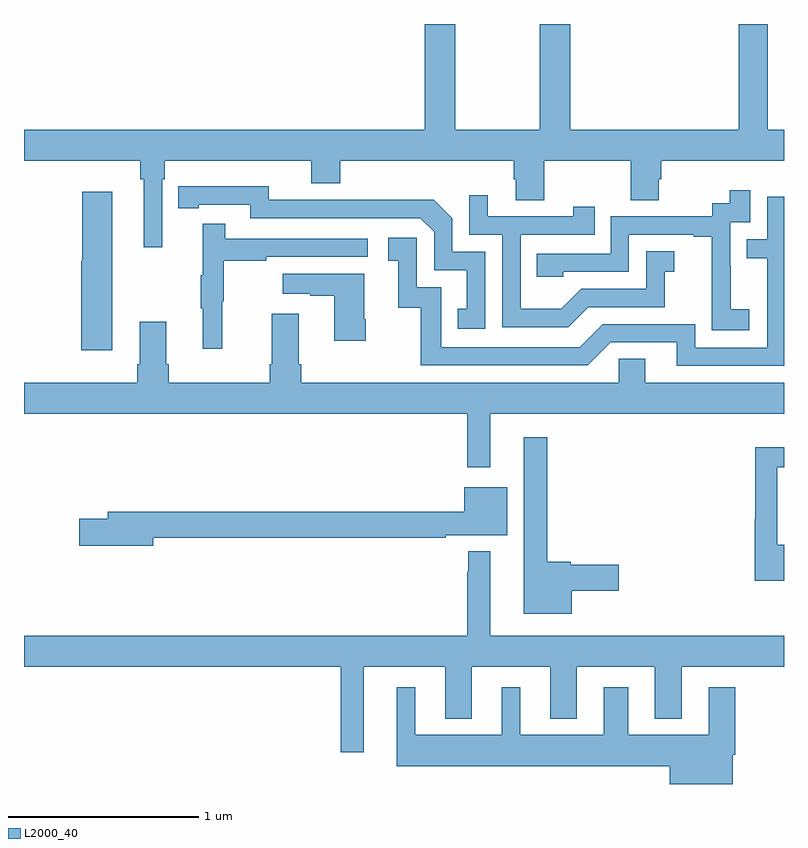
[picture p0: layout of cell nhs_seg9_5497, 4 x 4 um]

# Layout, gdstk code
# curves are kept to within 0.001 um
import gdstk
lib = gdstk.Library(unit=1e-6, precision=1e-09)
def P(c, l, *ps):  # polygons
    for p in ps: c.add(gdstk.Polygon(p, *l))
L2000_40 = (2000, 40)

nhs_seg9_5497 = lib.new_cell('nhs_seg9_5497')
P(nhs_seg9_5497, L2000_40, [(431.727,1169.684),(431.741,1169.684),(431.741,1169.78),(432.512,1169.78),(432.512,1169.663),(432.665,1169.663),(432.665,1169.78),(433.577,1169.78),(433.577,1169.682),(433.589,1169.682),(433.589,1169.572),(433.737,1169.572),(433.737,1169.78),(434.194,1169.78),(434.194,1169.572),(434.341,1169.572),(434.341,1169.682),(434.354,1169.682),(434.354,1169.78),(435,1169.78),(435,1169.944),(434.914,1169.944),(434.914,1170.5),(434.762,1170.5),(434.762,1169.944),(433.874,1169.944),(433.874,1170.5),(433.714,1170.5),(433.714,1169.944),(433.269,1169.944),(433.269,1170.5),(433.109,1170.5),(433.109,1169.944),(431,1169.944),(431,1169.78),(431.611,1169.78),(431.611,1169.684),(431.63,1169.684),(431.63,1169.325),(431.727,1169.325)],
  [(433.428,1169.301),(433.254,1169.301),(433.254,1169.478),(433.156,1169.576),(432.748,1169.576),(432.748,1169.574),(432.288,1169.574),(432.288,1169.647),(431.812,1169.646),(431.812,1169.53),(431.92,1169.53),(431.92,1169.55),(432.192,1169.55),(432.192,1169.478),(433.086,1169.478),(433.158,1169.406),(433.158,1169.205),(433.331,1169.205),(433.331,1169.001),(433.282,1169.001),(433.282,1168.896),(433.428,1168.896)],
  [(434.818,1168.999),(434.72,1168.999),(434.72,1169.228),(434.718,1169.228),(434.718,1169.457),(434.823,1169.457),(434.823,1169.626),(434.715,1169.626),(434.715,1169.556),(434.622,1169.556),(434.622,1169.487),(434.088,1169.487),(434.088,1169.292),(433.699,1169.292),(433.699,1169.169),(433.839,1169.169),(433.839,1169.196),(434.184,1169.196),(434.184,1169.391),(434.525,1169.391),(434.525,1169.379),(434.621,1169.379),(434.621,1169.095),(434.62,1169.095),(434.62,1168.889),(434.818,1168.889)],
  [(431.464,1169.617),(431.306,1169.617),(431.306,1169.253),(431.3,1169.253),(431.3,1168.782),(431.464,1168.782)],
  [(433.969,1169.01),(434.373,1169.01),(434.373,1169.195),(434.422,1169.195),(434.422,1169.305),(434.274,1169.305),(434.274,1169.106),(433.932,1169.106),(433.828,1169.002),(433.614,1169.002),(433.614,1169.391),(434.003,1169.391),(434.003,1169.539),(433.892,1169.539),(433.892,1169.487),(433.441,1169.487),(433.441,1169.599),(433.344,1169.599),(433.344,1169.391),(433.518,1169.391),(433.518,1168.905),(433.864,1168.905)],
  [(435,1169.592),(434.913,1169.592),(434.913,1169.367),(434.803,1169.367),(434.803,1169.266),(434.913,1169.266),(434.913,1168.797),(434.532,1168.797),(434.532,1168.92),(434.046,1168.92),(433.926,1168.8),(433.197,1168.8),(433.197,1169.115),(433.068,1169.115),(433.068,1169.374),(432.918,1169.374),(432.918,1169.253),(432.971,1169.253),(432.971,1169.007),(433.089,1169.007),(433.089,1168.704),(433.968,1168.704),(434.088,1168.824),(434.435,1168.824),(434.435,1168.701),(435,1168.701)],
  [(432.044,1169.04),(432.052,1169.04),(432.052,1169.254),(432.275,1169.254),(432.275,1169.274),(432.808,1169.274),(432.808,1169.37),(432.059,1169.37),(432.059,1169.449),(431.942,1169.449),(431.942,1169.177),(431.931,1169.177),(431.931,1169.003),(431.942,1169.003),(431.942,1168.791),(432.044,1168.791)],
  [(432.798,1168.945),(432.79,1168.945),(432.79,1169.185),(432.363,1169.185),(432.363,1169.081),(432.506,1169.081),(432.506,1169.071),(432.632,1169.071),(432.632,1168.833),(432.798,1168.833)],
  [(433.453,1168.448),(435,1168.448),(435,1168.612),(434.269,1168.612),(434.269,1168.739),(434.13,1168.739),(434.13,1168.612),(432.458,1168.612),(432.458,1168.708),(432.445,1168.708),(432.445,1168.975),(432.305,1168.975),(432.305,1168.708),(432.293,1168.708),(432.293,1168.612),(431.762,1168.612),(431.762,1168.708),(431.749,1168.708),(431.749,1168.933),(431.609,1168.933),(431.609,1168.708),(431.597,1168.708),(431.597,1168.612),(431,1168.612),(431,1168.448),(433.332,1168.448),(433.332,1168.167),(433.453,1168.167)],
  [(433.882,1167.518),(434.131,1167.518),(434.131,1167.653),(433.878,1167.653),(433.878,1167.671),(433.753,1167.671),(433.753,1168.324),(433.631,1168.324),(433.631,1167.395),(433.882,1167.395)],
  [(435,1167.76),(434.964,1167.76),(434.964,1168.167),(435,1168.167),(435,1168.273),(434.848,1168.273),(434.848,1167.894),(434.847,1167.894),(434.847,1167.571),(435,1167.571)],
  [(431.68,1167.796),(433.22,1167.796),(433.22,1167.809),(433.543,1167.809),(433.543,1168.063),(433.316,1168.063),(433.316,1167.932),(431.441,1167.932),(431.441,1167.896),(431.292,1167.896),(431.292,1167.754),(431.68,1167.754)],
  [(432.787,1167.116),(433.217,1167.116),(433.217,1166.843),(433.357,1166.843),(433.357,1167.116),(433.769,1167.116),(433.769,1166.843),(433.909,1166.843),(433.909,1167.116),(434.321,1167.116),(434.321,1166.843),(434.461,1166.843),(434.461,1167.116),(435,1167.116),(435,1167.28),(433.453,1167.28),(433.453,1167.724),(433.338,1167.724),(433.338,1167.617),(433.332,1167.617),(433.332,1167.28),(431,1167.28),(431,1167.116),(432.666,1167.116),(432.666,1166.667),(432.787,1166.667)],
  [(434.731,1166.654),(434.744,1166.654),(434.744,1167.01),(434.603,1167.01),(434.603,1166.758),(434.179,1166.758),(434.179,1167.01),(434.051,1167.01),(434.051,1166.758),(433.612,1166.758),(433.612,1167.01),(433.514,1167.01),(433.514,1166.758),(433.06,1166.758),(433.06,1167.01),(432.962,1167.01),(432.962,1166.594),(434.399,1166.594),(434.399,1166.5),(434.731,1166.5)])

lib.write_gds('nhs_seg9_5497.gds')
